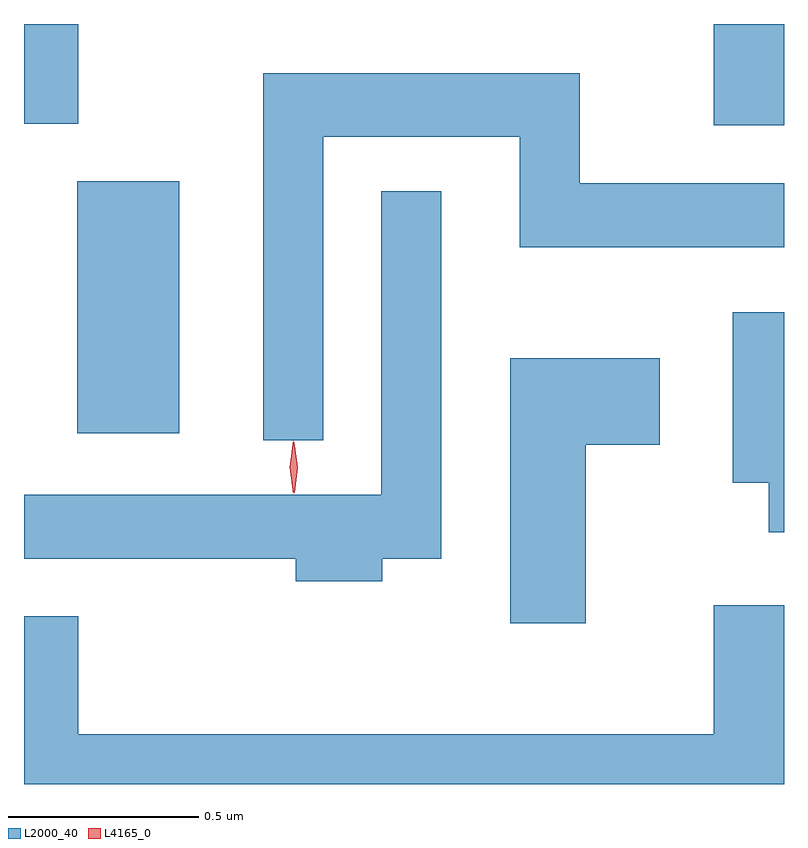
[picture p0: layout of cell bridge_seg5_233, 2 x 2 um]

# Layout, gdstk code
import gdstk
lib = gdstk.Library(unit=1e-6, precision=1e-09)
def R(c, l, rs):  # rectangles x0, y0, x1, y1
    for r in rs: c.add(gdstk.rectangle(r[:2], r[2:], *l))
def P(c, l, *ps):  # polygons
    for p in ps: c.add(gdstk.Polygon(p, *l))
L2000_40 = (2000, 40)
L4165_0 = (4165, 0)

bridge_seg5_233 = lib.new_cell('bridge_seg5_233')
R(bridge_seg5_233, L2000_40, [(1330.446,1428.996,1330.714,1429.659), (1332.121,1429.806,1332.306,1430.073), (1330.306,1429.811,1330.449,1430.073)])
P(bridge_seg5_233, L2000_40, [(1331.094,1429.776),(1331.611,1429.776),(1331.611,1429.486),(1332.306,1429.486),(1332.306,1429.654),(1331.769,1429.654),(1331.769,1429.944),(1330.936,1429.944),(1330.936,1428.978),(1331.094,1428.978)],
  [(1331.249,1428.666),(1331.404,1428.666),(1331.404,1429.633),(1331.246,1429.633),(1331.246,1428.834),(1330.306,1428.834),(1330.306,1428.666),(1331.021,1428.666),(1331.021,1428.606),(1331.249,1428.606)],
  [(1332.306,1429.314),(1332.171,1429.314),(1332.171,1428.866),(1332.266,1428.866),(1332.266,1428.736),(1332.306,1428.736)],
  [(1331.784,1428.966),(1331.979,1428.966),(1331.979,1429.194),(1331.586,1429.194),(1331.586,1428.496),(1331.784,1428.496)],
  [(1332.306,1428.544),(1332.121,1428.544),(1332.121,1428.204),(1330.449,1428.204),(1330.449,1428.514),(1330.306,1428.514),(1330.306,1428.073),(1332.306,1428.073)])
P(bridge_seg5_233, L4165_0, [(1331.017,1428.839),(1331.017,1428.84),(1331.007,1428.906),(1331.016,1428.972),(1331.017,1428.973),(1331.017,1428.972),(1331.027,1428.906),(1331.018,1428.84)],
  [(1331.014,1428.837),(1331.005,1428.906),(1331.014,1428.976),(1331.015,1428.976),(1331.015,1428.976),(1331.025,1428.906),(1331.015,1428.837),(1331.015,1428.837)])

lib.write_gds('bridge_seg5_233.gds')
